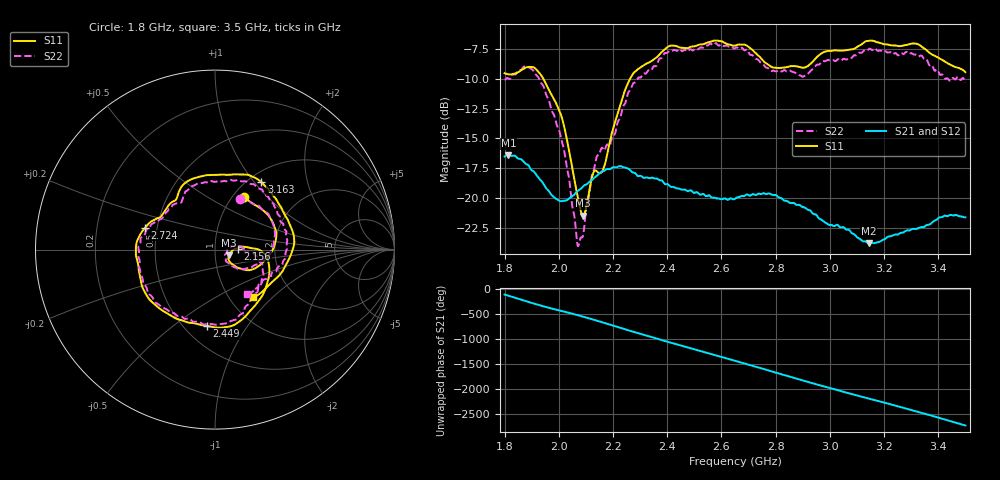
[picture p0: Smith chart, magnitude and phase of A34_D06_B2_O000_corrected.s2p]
! Created with skrf 1.9.0 (http://scikit-rf.org).
# Hz S RI R 50.0
!freq ReS11 ImS11 ReS21 ImS21 ReS12 ImS12 ReS22 ImS22
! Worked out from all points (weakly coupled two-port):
!   1601 points, 1.8 GHz to 3.5 GHz, reference 50 ohm
!   highest |S21| = -16.42 dB at 1.814 GHz (marker M1); lowest = -23.8 dB at 3.144 GHz (marker M2)
!   lowest |S11| = -21.5 dB at 2.09 GHz (marker M3), VSWR 1.18, Z = 58.3 - j3.77 ohm
!   |S11| at or under -10 dB: 1.943 GHz to 2.262 GHz (319.1 MHz wide, 15.2 % of centre)
!   |S22| runs from -24.1 to -7.0 dB; largest |S21 - S12| = 0.0025
!   S11 on the Smith chart (normalised r, x): 1.8 GHz: 1.13, +0.74; 2.156 GHz: 1.29, +0.02; 2.449 GHz: 0.64, -0.67; 2.724 GHz: 0.43, +0.13; 3.163 GHz: 1.14, +1.09; 3.5 GHz: 1.28, -0.76
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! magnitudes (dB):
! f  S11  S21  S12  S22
! 1.8 GHz  -9.5  -16.5  -16.5  -10.1
! 1.814 GHz  -9.6  -16.4  -16.4  -10.0
! 1.882 GHz  -9.0  -17.2  -17.2  -9.0
! 1.942 GHz  -10.0  -18.8  -18.8  -10.6
! 2.013 GHz  -13.4  -20.3  -20.3  -15.4
! 2.068 GHz  -19.7  -19.5  -19.5  -23.8
! 2.084 GHz  -21.3  -19.2  -19.1  -23.3
! 2.09 GHz  -21.5  -19.0  -19.0  -23.1
! 2.127 GHz  -17.9  -18.4  -18.4  -17.8
! 2.156 GHz  -17.9  -17.8  -17.8  -15.9
! 2.192 GHz  -14.9  -17.5  -17.5  -15.3
! 2.26 GHz  -10.1  -17.6  -17.6  -11.0
! 2.367 GHz  -8.1  -18.4  -18.4  -8.5
! 2.449 GHz  -7.4  -19.3  -19.3  -7.5
! 2.65 GHz  -7.2  -20.1  -20.0  -7.4
! 2.724 GHz  -7.8  -19.8  -19.7  -8.3
! 2.796 GHz  -9.1  -19.7  -19.7  -9.3
! 2.934 GHz  -8.6  -21.2  -21.2  -9.2
! 3.144 GHz  -6.8  -23.8  -23.7  -7.5
! 3.163 GHz  -6.8  -23.8  -23.8  -7.4
! 3.217 GHz  -7.1  -23.2  -23.2  -7.8
! 3.5 GHz  -9.4  -21.6  -21.6  -10.3
